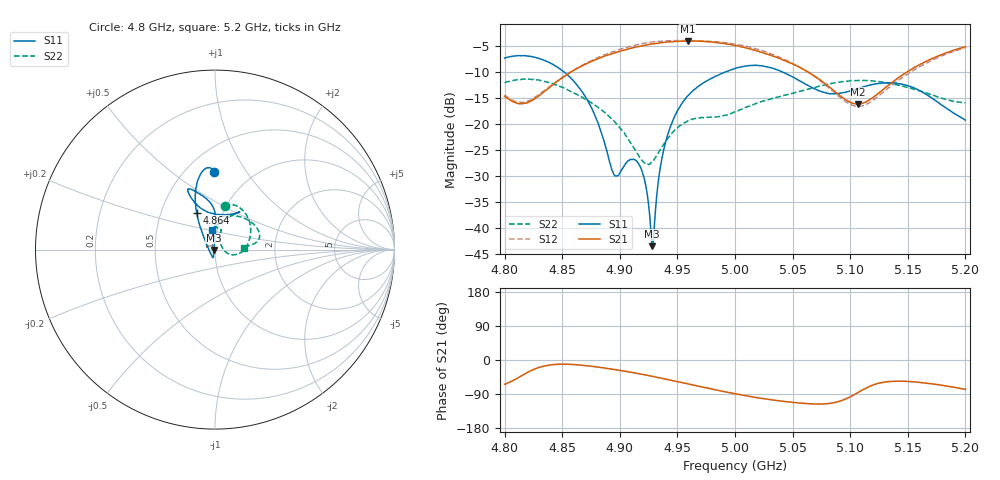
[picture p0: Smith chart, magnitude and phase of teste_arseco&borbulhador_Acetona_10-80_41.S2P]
! Network Analyzer HP8722D
! Hewlett-Packard
! Data name: Linha & Wilkinson
! Saver's name: Rodrigo Anjos
! Comments: Teste da utilização de aquisição
! continua pelo VNA HP8722D
! Time and date: 25/4/2025 15:36
!  Frequency  S11  S21  S12  S22
# HZ  S  MA R 50
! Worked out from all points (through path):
!   401 points, 4.8 GHz to 5.2 GHz, reference 50 ohm
!   highest |S21| = -3.96 dB at 4.959 GHz (marker M1); lowest = -16.1 dB at 5.107 GHz (marker M2)
!   lowest |S11| = -43.5 dB at 4.928 GHz (marker M3), VSWR 1.01, Z = 49.4 - j0.188 ohm
!   |S11| at or under -10 dB: 4.852 GHz to 4.991 GHz (139 MHz wide, 2.82 % of centre); 5.042 GHz to end of sweep
!   |S22| runs from -27.8 to -11.3 dB; largest |S21 - S12| = 1.2
!   S11 on the Smith chart (normalised r, x): 4.8 GHz: 0.68, +0.73; 4.864 GHz: 0.75, +0.33; 5.2 GHz: 0.94, +0.21
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4.8e9  0.4338 90.5  0.1859 -63.9  0.191 69.6  0.2505 77.3
4.82e9  0.4527 96.8  0.161 -32.5  0.1674 98.2  0.273 61.9
4.845e9  0.3592 107.2  0.255 -11.4  0.2585 119.3  0.2389 34.5
4.864e9  0.2302 116.4  0.3501 -12.9  0.3528 121.0  0.1898 12.0
4.867e9  0.2076 118.1  0.3642 -13.9  0.3684 120.7  0.183 8.6
4.88e9  0.1098 128.4  0.423 -18.4  0.4338 118.4  0.1486 -5.4
4.895e9  0.0326 -172.2  0.4859 -25.0  0.5023 113.7  0.1073 -16.1
4.909e9  0.0458 -106.2  0.5366 -32.2  0.5624 107.5  0.06704 -14.6
4.917e9  0.04027 -101.2  0.5628 -36.6  0.591 103.4  0.04838 -1.7
4.922e9  0.02744 -105.0  0.5758 -39.3  0.6039 100.7  0.04146 15.9
4.928e9  0.00669 -163.4  0.5929 -43.1  0.6191 97.0  0.04336 40.8
4.93e9  0.01063 123.2  0.5965 -44.3  0.6226 95.7  0.04624 48.5
4.934e9  0.03162 99.0  0.6051 -46.8  0.6295 93.3  0.05446 58.6
4.943e9  0.08853 90.2  0.6209 -52.5  0.6369 87.4  0.07605 68.7
4.959e9  0.1875 89.3  0.6339 -63.0  0.6398 77.2  0.1079 71.7
5e9  0.3443 109.0  0.5724 -89.0  0.593 50.7  0.1318 88.6
5.031e9  0.3501 114.9  0.4619 -104.8  0.4779 33.2  0.1749 84.7
5.067e9  0.2255 105.0  0.3016 -116.0  0.2986 23.5  0.2223 57.1
5.107e9  0.2217 63.6  0.1564 -85.5  0.1483 57.7  0.2637 24.3
5.134e9  0.2508 56.9  0.2411 -56.7  0.2269 88.6  0.2481 12.4
5.169e9  0.1843 69.4  0.4192 -62.1  0.4024 84.8  0.1946 6.8
5.2e9  0.1096 100.1  0.5558 -77.6  0.5468 70.1  0.1607 3.8
